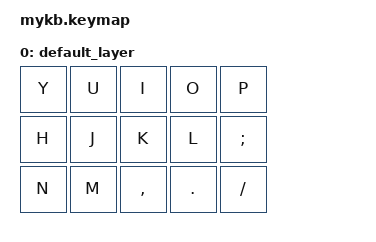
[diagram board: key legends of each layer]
#include <behaviors.dtsi>
#include <dt-bindings/zmk/keys.h>

/ {
    keymap {
        compatible = "zmk,keymap";
        default_layer {
            bindings = <
                &kp Y &kp U &kp I &kp O &kp P
                &kp H &kp J &kp K &kp L &kp SEMICOLON
                &kp N &kp M &kp COMMA &kp DOT &kp SLASH
            >;
        };
    };
};
